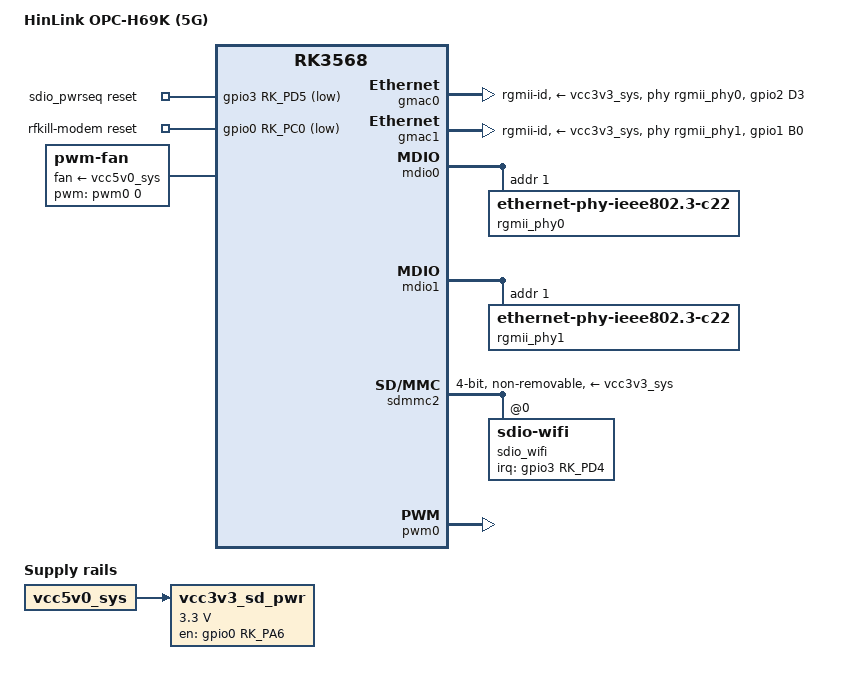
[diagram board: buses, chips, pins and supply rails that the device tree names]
// SPDX-License-Identifier: (GPL-2.0+ OR MIT)
/*
 * HinLink OPC-H69K (5G)
 *
 * HinLink 适配for immortalwrt —— 每机型独立 DTS，不做自适应。
 *
 * 硬件事实来源：厂商 2024 QWRT R24.07.07 固件 dtb（已解包反编译逐项核对）
 * 蓝本：OpenWrt 主线 rk3568-hinlink-h68k.dts
 *
 * 真·69K：装 USB 5G 模组；屏蔽 1 个 GMAC → 1×GMAC + 2×RTL8125 = 3 口
 */

/dts-v1/;

#include <dt-bindings/thermal/thermal.h>
#include "rk3568-hinlink-opc.dtsi"

/ {
	model = "HinLink OPC-H69K (5G)";
	compatible = "hinlink,opc-h69k-mini", "hinlink,h69k", "hinlink,h69k-mini", "hinlink,h68k", "rockchip,rk3568";

	aliases {
		ethernet0 = &gmac0;
		ethernet1 = &gmac1;
	};
};
&gmac0 {
	assigned-clocks = <&cru SCLK_GMAC0_RX_TX>, <&cru SCLK_GMAC0>;
	assigned-clock-parents = <&cru SCLK_GMAC0_RGMII_SPEED>;
	assigned-clock-rates = <0>, <125000000>;
	clock_in_out = "output";
	phy-mode = "rgmii-id";
	phy-supply = <&vcc3v3_sys>;
	pinctrl-names = "default";
	pinctrl-0 = <&gmac0_miim
		     &gmac0_tx_bus2
		     &gmac0_rx_bus2
		     &gmac0_rgmii_clk
		     &gmac0_rgmii_bus
		     &gmac0_rstn>;
	snps,reset-gpios = <&gpio2 RK_PD3 GPIO_ACTIVE_LOW>;
	snps,reset-active-low;
	snps,reset-delays-us = <0 20000 100000>;
	tx_delay = <0x3c>;
	rx_delay = <0x2f>;
	phy-handle = <&rgmii_phy0>;
	status = "okay";
};

&gmac1 {
	assigned-clocks = <&cru SCLK_GMAC1_RX_TX>, <&cru SCLK_GMAC1>;
	assigned-clock-parents = <&cru SCLK_GMAC1_RGMII_SPEED>;
	assigned-clock-rates = <0>, <125000000>;
	clock_in_out = "output";
	phy-mode = "rgmii-id";
	phy-supply = <&vcc3v3_sys>;
	pinctrl-names = "default";
	pinctrl-0 = <&gmac1m1_miim
		     &gmac1m1_tx_bus2
		     &gmac1m1_rx_bus2
		     &gmac1m1_rgmii_clk
		     &gmac1m1_rgmii_bus
		     &gmac1_rstn>;
	snps,reset-gpios = <&gpio1 RK_PB0 GPIO_ACTIVE_LOW>;
	snps,reset-active-low;
	snps,reset-delays-us = <0 20000 100000>;
	tx_delay = <0x4f>;
	rx_delay = <0x26>;
	phy-handle = <&rgmii_phy1>;
	status = "okay";
};

&mdio0 {
	rgmii_phy0: ethernet-phy@1 {
		compatible = "ethernet-phy-ieee802.3-c22";
		reg = <0x1>;
	};
};

&mdio1 {
	rgmii_phy1: ethernet-phy@1 {
		compatible = "ethernet-phy-ieee802.3-c22";
		reg = <0x1>;
	};
};

&{/} {
	sdio_pwrseq: sdio-pwrseq {
		compatible = "mmc-pwrseq-simple";
		clocks = <&rk809 1>;
		clock-names = "ext_clock";
		pinctrl-names = "default";
		pinctrl-0 = <&wifi_enable>;
		post-power-on-delay-ms = <200>;
		power-off-delay-us = <5000000>;
		reset-gpios = <&gpio3 RK_PD5 GPIO_ACTIVE_LOW>;
	};
};

&{/} {
	vcc3v3_sd_pwr: vcc3v3-sd-pwr {
		compatible = "regulator-fixed";
		enable-active-high;
		gpio = <&gpio0 RK_PA6 GPIO_ACTIVE_HIGH>;
		pinctrl-names = "default";
		pinctrl-0 = <&vcc3v3_sd_pwr_en>;
		regulator-always-on;
		regulator-boot-on;
		regulator-min-microvolt = <3300000>;
		regulator-max-microvolt = <3300000>;
		regulator-name = "vcc3v3_sd_pwr";
		vin-supply = <&vcc5v0_sys>;
	};
};

&sdmmc2 {
	bus-width = <4>;
	cap-sd-highspeed;
	cap-sdio-irq;
	disable-wp;
	keep-power-in-suspend;
	max-frequency = <15000000>;
	mmc-pwrseq = <&sdio_pwrseq>;
	non-removable;
	pinctrl-names = "default";
	pinctrl-0 = <&sdmmc2m0_bus4 &sdmmc2m0_cmd &sdmmc2m0_clk>;
	sd-uhs-sdr25;
	sd-uhs-sdr50;
	sd-uhs-sdr104;
	status = "okay";
	vmmc-supply = <&vcc3v3_sys>;
	vqmmc-supply = <&vcc3v3_sd_pwr>;

	sdio_wifi: sdio-wifi@0 {
		interrupt-parent = <&gpio3>;
		interrupts = <RK_PD4 IRQ_TYPE_LEVEL_HIGH>;
		interrupt-names = "host-wake";
		reg = <0>;
	};
};

/*
 * ★ 原&rk809 { ext_32k_clk_out { rockchip,grf = <&rk809_grf 0>; } } 已删除
 *
 *   原因：Linux 6.18 的 rk3568 SoC dtsi 里**没有 rk809 节点，也没有 rk809_grf
 *   标签**（6.18 已把 SoC 拆分到 rk356x-base.dtsi，RK809 PMIC 不在其中）。
 *   保留这段会因 phandle 找不到而**编译失败**。
 *
 *   佐证：6.18 内核自带的 rk3568-hinlink-h68k.dts（官方蓝本）也没有这段。
 *   而本仓库的 rk3568-hinlink-opc.dtsi 与 6.18 内核自带的同名文件
 *   **sha256 完全一致**，说明这份 dtsi 已是上游官方版本 ——
 *   上游没引用 rk809_grf，说明它确实不需要。
 *
 *   这个 32.768kHz 时钟输出是给 RTC 用的；RK3568 板载 RTC 走
 *   hym8563（I2C），不依赖 RK809。若你的机器确实需要它，
 *   应改用 `rk809` 相关的正确写法或另找时钟源。
 */


&pinctrl {
	sdmmc {
		vcc3v3_sd_pwr_en: vcc3v3-sd-pwr-en {
			rockchip,pins = <0 RK_PA6 RK_FUNC_GPIO &pcfg_pull_none>;
		};

		/*
		 * ★ sdmmc2m0_bus4 / _cmd / _clk 的定义**已删除**：
		 *   内核 rk3568-pinctrl.dtsi 已提供同名标签，内容与我们逐项相同
		 *   （如 <3 RK_PC6 3 &pcfg_pull_up_drv_level_2>），重定义会报
		 *   duplicate_label。&sdmmc2 的 pinctrl-0 照常引用内核定义。
		 */

	};

	wifi {
		wifi_enable: wifi-enable {
			rockchip,pins = <3 RK_PD5 RK_FUNC_GPIO &pcfg_pull_none>;
		};
	};
};

&{/} {
	/*
	 * ============ 5G 模组供电/复位 —— GPIO0_C0，3.3V ============
	 *
	 * 来源：iStoreOS rk3568-opc-h69k.dts 与厂商 2024 QWRT 固件 dtb
	 * （fw24/dtb/dtb_3245000.dtb，model="HINLINK OPC-H69K Board"）。
	 * 厂商 dtb 原文：
	 *
	 *     modem-enable-regulator {
	 *         compatible = "regulator-fixed";
	 *         regulator-name = "modem_enable";
	 *         gpio = <&gpio0 RK_PC0 GPIO_ACTIVE_LOW>;
	 *         startup-delay-us = <0x1e8480>;        // 2 秒
	 *         // ★ 注意：没有 enable-active-high
	 *     };
	 *
	 * ★★ 极性只由 `enable-active-high` 决定，不能凭 GPIO_ACTIVE_LOW 猜 ★★
	 *   6.18 的 drivers/gpio/gpiolib-of.c 里有一张极性映射表，注释原文：
	 *     "The regulator GPIO handles are specified such that the presence
	 *      or absence of enable-active-high solely controls the polarity of
	 *      the GPIO line. Any phandle flags must be actively ignored."
	 *   即：对 regulator-fixed 的 gpio/gpios，DT 里写的 GPIO_ACTIVE_LOW /
	 *   GPIO_ACTIVE_HIGH **被内核主动忽略**，只看有没有 enable-active-high：
	 *         有 → 高电平使能
	 *         无 → 低电平使能   ← 厂商原意（本节点）
	 *
	 * ⚠️ 历史 bug（2026-10-12 修）：旧版这里多写了 `enable-active-high;`，
	 *   于是按规则变成**高电平使能**，内核开机把 GPIO0_C0 拉**高**，
	 *   而模组要**低**才供电 ⇒ H69K-mini 的 5G 模组从没被上电过。
	 *
	 * ★ startup-delay-us = 2 秒：模组上电后需要时间稳定。
	 * ⚠️ 不要另加 rfkill-gpio 指向 GPIO0_C0，同一个脚两个驱动会打架。
	 *   详见 docs/HARDWARE.md §四。
	 */
	/*
	 * ============ 5G 模组「供电 + 复位」单路开关 —— 交给 rfkill-gpio ============
	 *
	 * H69K-mini 与 H69K 一样只有这**一个** GPIO（GPIO0_C0）。
	 * 改用 rfkill-gpio 后既能保证开机上电、又能软复位：
	 *
	 *   · 开机：rfkill 默认 unblocked → gpiod_set_value(1)
	 *     →（GPIO_ACTIVE_LOW）物理低 = 使能/工作 ⇒ 模组上电 ✓
	 *   · 运行时：`echo 0 > /sys/class/rfkill/rfkillN/state` → 物理高
	 *     = 断电/复位 ⇒ `echo 1` 恢复 = 一次真正的断电重启 ✓
	 *
	 *   6.18 net/rfkill/core.c 的 `DEVICE_ATTR_RW(state)` 就是入口，
	 *   **不需要装 rfkill 命令**（纯 sysfs）。已封装为
	 *   `/etc/init.d/hinlink-modem-hardreset reset`。
	 *
	 * ★ 代价：丢掉 regulator 的 `startup-delay-us = 2s`（rfkill-gpio 无
	 *   延时机制），改由 hinlink-modem-hardreset 脚本复位后等待。
	 * ★ 时序更早：rfkill-gpio 在 device_initcall 就定电平，
	 *   早于原 regulator 的 late_initcall_sync。
	 *
	 * ⚠️ 属性名必须是 `label` + `radio-type`（6.18 的 DT 路径只读这两个）。
	 * ⚠️ 不要再写 `power-gpios`（6.18 无实现）。
	 */
	rfkill-modem {
		compatible = "rfkill-gpio";
		label = "rfkill-modem";
		radio-type = "wwan";
		reset-gpios = <&gpio0 RK_PC0 GPIO_ACTIVE_LOW>;
		pinctrl-names = "default";
		pinctrl-0 = <&modem_enable_en>;
	};

	/*
	 * ★★ 风扇：PWM0 驱动 pwm-fan，绑定 cpu_thermal
	 *
	 * 参数全部来自 iStoreOS 官方 rk3568-opc-h69k.dts，
	 * 并由「h69k-fan」LuCI 插件的 DEVELOPMENT.md 反向验证：
	 *   「pwm-fan cooling-levels = <0 0x55 0x66 0x77 0x88 0x99 0xbb 0xcc 0xff>
	 *     —— 即 0/33/40/47/53/60/73/80/100%，
	 *     与本插件 pct_to_state 的 9 档映射逐值一致」
	 *
	 * ★ cooling-levels 的 9 个值不是随便填的，它就是 h69k-fan 插件
	 *   的 pct_to_state 映射表。改这里会让插件的档位错位。
	 * ★ 风扇绑定 cpu_thermal；设备树无 tach 引脚 → 无 RPM 反馈。
	 *
	 * ⚠️ H69K-mini 是 4 口版（= H68K max），风扇与 H69K 三口版相同。
	 */
	fan: pwm-fan {
		compatible = "pwm-fan";
		cooling-levels = <0 0x55 0x66 0x77 0x88 0x99 0xbb 0xcc 0xff>;
		#cooling-cells = <2>;
		fan-supply = <&vcc5v0_sys>;
		pwms = <&pwm0 0 50000 0>;
	};
};

/* 风扇 PWM 通道 */
&pwm0 {
	status = "okay";
};

/*
 * CPU 温控曲线 —— 挂在 fan 上
 *   20℃ passive -> 最低档    65℃ -> 2~4 档
 *   85℃ -> 4~6 档    95℃ -> 6 档以上（满档）
 *
 * ⚠️ 内核 rk356x-base.dtsi 原本的 cpu_thermal 只有 passive 的
 *   cpu_alert0(70℃)/cpu_alert1(75℃) + critical(95℃)，
 *   cooling-map0绑的是 CPU（CPU_FREQ_INCREASE）不是风扇。
 *   下面覆盖为风扇曲线。
 */
&cpu_thermal {
	trips {
		cpu_warm: cpu_warm {
			temperature = <65000>;
			hysteresis = <5000>;
			type = "active";
		};

		cpu_hot: cpu_hot {
			temperature = <85000>;
			hysteresis = <5000>;
			type = "active";
		};

		cpu_hall: cpu_hall {
			temperature = <95000>;
			hysteresis = <5000>;
			type = "active";
		};

		cpu_idle: cpu_idle {
			temperature = <20000>;
			hysteresis = <3000>;
			type = "passive";
		};
	};

	cooling-maps {
		map2 {
			trip = <&cpu_idle>;
			cooling-device = <&fan THERMAL_NO_LIMIT 2>;
		};

		map3 {
			trip = <&cpu_warm>;
			cooling-device = <&fan 2 4>;
		};

		map4 {
			trip = <&cpu_hot>;
			cooling-device = <&fan 4 6>;
		};

		map5 {
			trip = <&cpu_hall>;
			cooling-device = <&fan 6 THERMAL_NO_LIMIT>;
		};
	};
};


&pinctrl {
	modem {
		modem_enable_en: modem-enable-en {
			rockchip,pins = <0 RK_PC0 RK_FUNC_GPIO &pcfg_pull_none>;
		};
	};
};

&pinctrl {
	gmac {
		gmac0_rstn: gmac0-rstn {
			rockchip,pins = <2 RK_PD3 RK_FUNC_GPIO &pcfg_pull_none>;
		};

		gmac1_rstn: gmac1-rstn {
			rockchip,pins = <1 RK_PB0 RK_FUNC_GPIO &pcfg_pull_none>;
		};
	};
};
